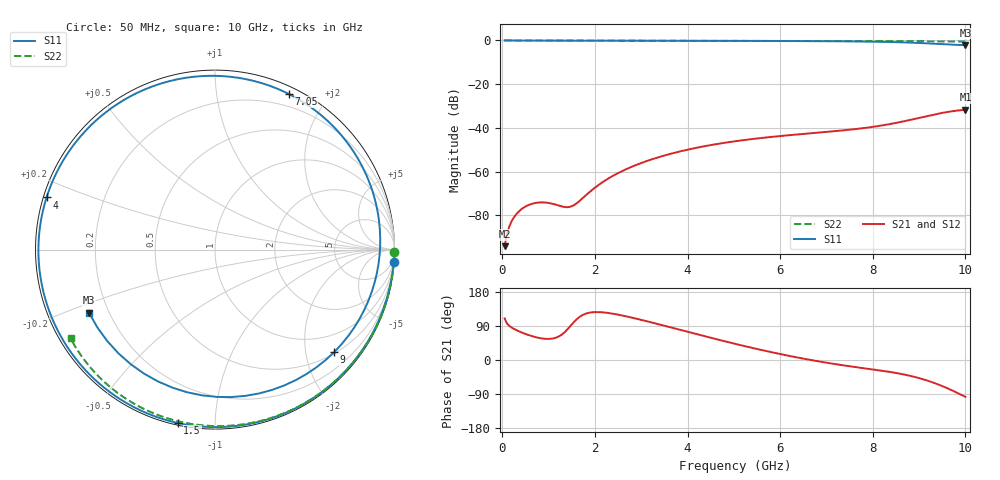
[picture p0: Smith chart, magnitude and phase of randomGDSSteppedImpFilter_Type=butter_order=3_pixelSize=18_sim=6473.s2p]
! freq	dB(S11)	phase(S11)	dB(S12)	phase(S12)
!  dB(S21)	phase(S21)	dB(S22)	phase(S22)
!S-par simulation data
#  GHz  S  DB  R 50
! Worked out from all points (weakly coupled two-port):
!   200 points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, 50 MHz to 10 GHz, reference 50 ohm
!   highest |S21| = -31.76 dB at 10 GHz (marker M1); lowest = -94.2 dB at 50 MHz (marker M2)
!   lowest |S11| = -2.1 dB at 10 GHz (marker M3), VSWR 8.31, Z = 6.34 - j11.6 ohm
!   |S11| at or under -10 dB: nowhere
!   |S22| runs from -0.5 to 0.0 dB; largest |S21 - S12| = 0
!   S11 on the Smith chart (normalised r, x): 50 MHz: 0, -28; 1.5 GHz: 0.01, -0.81; 4 GHz: 0.01, +0.15; 7.05 GHz: 0.07, +1.58; 9 GHz: 0.53, -2.60; 10 GHz: 0.13, -0.23
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0.05  -0.01 -4.0  -94.17 109.7  -94.17 109.7  -0.01 -0.9
0.25  -0.05 -19.6  -81.02 82.2  -81.02 82.2  -0.01 -4.3
0.4  -0.05 -31.1  -77.48 73.6  -77.48 73.6  -0.01 -6.9
0.8  -0.07 -59.8  -74.17 58.0  -74.17 58.0  -0.02 -13.7
1.15  -0.09 -82.3  -75.12 58.6  -75.12 58.6  -0.02 -19.7
1.5  -0.10 -102.1  -75.89 93.8  -75.89 93.8  -0.03 -25.6
1.75  -0.11 -114.8  -71.92 119.6  -71.92 119.6  -0.04 -29.7
2.55  -0.13 -149.0  -60.18 118.5  -60.18 118.5  -0.06 -42.9
3.4  -0.14 -178.5  -53.29 93.6  -53.29 93.6  -0.07 -56.5
4  -0.15 162.8  -50.00 74.5  -50.00 74.5  -0.09 -65.8
5.05  -0.19 131.3  -46.07 42.0  -46.07 42.0  -0.12 -81.5
5.9  -0.25 104.9  -43.97 18.3  -43.97 18.3  -0.16 -93.7
6.7  -0.31 77.7  -42.42 -0.8  -42.42 -0.8  -0.20 -104.8
7.05  -0.36 64.7  -41.77 -8.1  -41.77 -8.1  -0.22 -109.5
7.7  -0.47 37.4  -40.39 -19.9  -40.39 -19.9  -0.27 -118.2
8.35  -0.70 4.0  -38.36 -31.1  -38.36 -31.1  -0.32 -126.8
8.7  -0.90 -18.1  -36.87 -38.9  -36.87 -38.9  -0.35 -131.4
9  -1.15 -40.8  -35.45 -47.8  -35.45 -47.8  -0.38 -135.3
9.3  -1.48 -68.0  -34.02 -59.4  -34.02 -59.4  -0.42 -139.3
9.55  -1.77 -95.1  -32.96 -71.4  -32.96 -71.4  -0.44 -142.5
9.75  -1.98 -119.8  -32.29 -82.3  -32.29 -82.3  -0.46 -145.1
10  -2.10 -153.5  -31.76 -97.3  -31.76 -97.3  -0.49 -148.4
